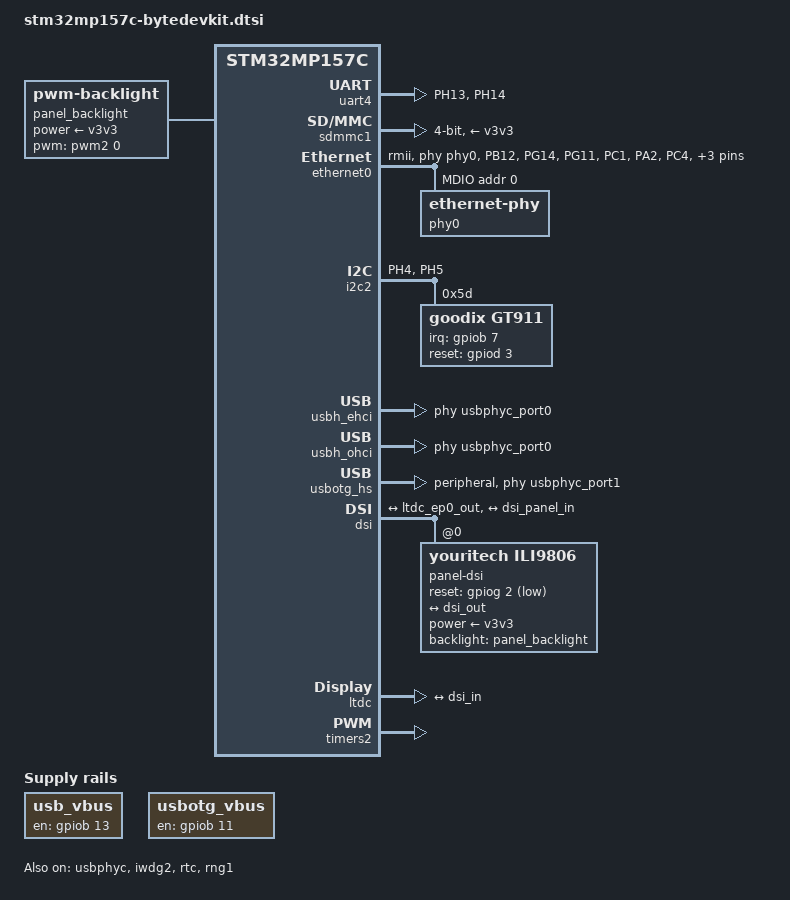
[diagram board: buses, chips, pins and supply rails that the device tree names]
// SPDX-License-Identifier: GPL-2.0
/*
 *  Copyright (C) 2020 bytes at work AG - http://www.bytesatwork.ch
 */

#include "stm32mp157c-byteengine-m5.dtsi"
#include <dt-bindings/net/ti-dp83867.h>

/ {
	aliases {
		serial0 = &uart4;
		ethernet0 = &ethernet0;
	};

	chosen {
		stdout-path = "serial0:115200n8";
	};

	usb_vbus: regulator-vbus {
		compatible = "regulator-fixed";
		regulator-name = "usb_en_vbus";
		gpio = <&gpiob 13 GPIO_ACTIVE_HIGH>;
		enable-active-high;
	};

	usbotg_vbus: regulator-vbus-otg {
		compatible = "regulator-fixed";
		regulator-name = "usbotg_en_vbus";
		gpio = <&gpiob 11 GPIO_ACTIVE_HIGH>;
		enable-active-high;
		regulator-boot-off;
	};

	panel_backlight: backlight {
		compatible = "pwm-backlight";
		pwms = <&pwm2 0 2000>;
		brightness-levels = <0 4 8 16 32 64 128 200 255>;
		default-brightness-level = <8>;
		power-supply = <&v3v3>;
	};
};

&pinctrl {
	uart4_pins: uart4-0 {
		pins1 {
			pinmux = <STM32_PINMUX('H', 13, AF8)>; /* UART4_TX */
			bias-disable;
			drive-push-pull;
			slew-rate = <0>;
		};

		pins2 {
			pinmux = <STM32_PINMUX('H', 14, AF8)>; /* UART4_RX */
			bias-disable;
		};
	};

	uart4_idle_pins: uart4-idle-0 {
		pins1 {
			pinmux = <STM32_PINMUX('H', 13, ANALOG)>; /* UART4_TX */
		};

		pins2 {
			pinmux = <STM32_PINMUX('H', 14, AF8)>; /* UART4_RX */
			bias-disable;
		};
	};

	uart4_sleep_pins: uart4-sleep-0 {
		pins {
			pinmux = <STM32_PINMUX('H', 13, ANALOG)>, /* UART4_TX */
				 <STM32_PINMUX('H', 14, ANALOG)>; /* UART4_RX */
		};
	};

	pwm2_pins: pwm2-0 {
		pins {
			pinmux = <STM32_PINMUX('G', 8, AF1)>; /* TIM2_CH1 */
			bias-pull-down;
			drive-push-pull;
			slew-rate = <0>;
		};
	};

	pwm2_sleep_pins: pwm2-sleep-0 {
		pins {
			pinmux = <STM32_PINMUX('G', 8, ANALOG)>; /* TIM2_CH1 */
		};
	};

	ethernet0_rmii_pins: rmii-0 {
		pins1 {
			pinmux = <STM32_PINMUX('B', 12, AF11)>, /* ETH_RMII_TXD0 */
				 <STM32_PINMUX('G', 14, AF11)>, /* ETH_RMII_TXD1 */
				 <STM32_PINMUX('G', 11, AF11)>, /* ETH_RMII_TX_EN */
				 <STM32_PINMUX('C', 1, AF11)>; /* ETH_MDC */
			bias-disable;
			drive-push-pull;
			slew-rate = <2>;
		};

		pins2 {
			pinmux = <STM32_PINMUX('A', 2, AF11)>; /* ETH_MDIO */
			bias-disable;
			drive-push-pull;
			slew-rate = <0>;
		};

		pins3 {
			pinmux = <STM32_PINMUX('C', 4, AF11)>, /* ETH_RMII_RXD0 */
				 <STM32_PINMUX('C', 5, AF11)>, /* ETH_RMII_RXD1 */
				 <STM32_PINMUX('A', 1, AF11)>, /* ETH_RMII_REF_CLK */
				 <STM32_PINMUX('A', 7, AF11)>; /* ETH_RMII_CRS_DV */
			bias-disable;
		};
	};

	/* same as &i2c2_pins_a but with pull-up */
	i2c2_pins: i2c2-0 {
		pins {
			pinmux = <STM32_PINMUX('H', 4, AF4)>, /* I2C2_SCL */
				 <STM32_PINMUX('H', 5, AF4)>; /* I2C2_SDA */
			bias-pull-up;
			drive-open-drain;
			slew-rate = <0>;
		};
	};
};

&uart4 {
	pinctrl-names = "default", "sleep", "idle";
	pinctrl-0 = <&uart4_pins>;
	pinctrl-1 = <&uart4_sleep_pins>;
	pinctrl-2 = <&uart4_idle_pins>;
	/delete-property/dmas;
	/delete-property/dma-names;
	status = "okay";
};

&sdmmc1 {
	pinctrl-names = "default", "opendrain", "sleep";
	pinctrl-0 = <&sdmmc1_b4_pins_a>;
	pinctrl-1 = <&sdmmc1_b4_od_pins_a>;
	pinctrl-2 = <&sdmmc1_b4_sleep_pins_a>;
	broken-cd;
	st,neg-edge;
	bus-width = <4>;
	vmmc-supply = <&v3v3>;
	status = "okay";
};

&ethernet0 {
	status = "okay";
	pinctrl-0 = <&ethernet0_rmii_pins>;
	pinctrl-names = "default";
	phy-mode = "rmii";
	phy-handle = <&phy0>;
	max-speed = <100>;

	mdio0 {
		#address-cells = <1>;
		#size-cells = <0>;
		compatible = "snps,dwmac-mdio";
		phy0: ethernet-phy@0 {
			reg = <0>;
		};
	};
};

&i2c2 {
	pinctrl-names = "default", "sleep";
	pinctrl-0 = <&i2c2_pins>;
	pinctrl-1 = <&i2c2_sleep_pins_a>;
	i2c-scl-rising-time-ns = <185>;
	i2c-scl-falling-time-ns = <20>;
	status = "okay";
	/delete-property/dmas;
	/delete-property/dma-names;

	gt911@5d {
		compatible = "goodix,gt911";
		reg = <0x5d>;
		interrupt-parent = <&gpiob>;
		interrupts = <7 0>;

		irq-gpios = <&gpiob 7 0>;
		reset-gpios = <&gpiod 3 0>;
	};
};

&usbh_ehci {
	phys = <&usbphyc_port0>;
	phy-names = "usb";
	status = "okay";
};

&usbh_ohci {
	phys = <&usbphyc_port0>;           /* Use USBPHYC HS PHY port, mapped on USBH controller */
	phy-names = "usb";
	status = "okay";
};

&usbphyc {
	status = "okay";
};

&usbphyc_port0 {
	phy-supply = <&usb_vbus>;
};


/* USB OTG Port (peripheral only) */
&usbotg_hs {
	pinctrl-names = "default";
	pinctrl-0 = <&usbotg_hs_pins_a>;
	dr_mode = "peripheral";
	phys = <&usbphyc_port1 0>;
	phy-names = "usb2-phy";
	status = "okay";
};

&iwdg2 {
	timeout-sec = <32>;
	status = "okay";
};

&dsi {
	#address-cells = <1>;
	#size-cells = <0>;
	status = "okay";

	ports {
		#address-cells = <1>;
		#size-cells = <0>;

		port@0 {
			reg = <0>;
			dsi_in: endpoint {
				remote-endpoint = <&ltdc_ep0_out>;
			};
		};

		port@1 {
			reg = <1>;
			dsi_out: endpoint {
				remote-endpoint = <&dsi_panel_in>;
			};
		};
	};

	panel-dsi@0 {
		compatible = "youritech,ili9806";
		reg = <0>;
		reset-gpios = <&gpiog 2 GPIO_ACTIVE_LOW>;
		power-supply = <&v3v3>;
		backlight = <&panel_backlight>;
		status = "okay";

		port {
			dsi_panel_in: endpoint {
				remote-endpoint = <&dsi_out>;
			};
		};
	};
};

&ltdc {
	status = "okay";

	port {
		#address-cells = <1>;
		#size-cells = <0>;

		ltdc_ep0_out: endpoint@0 {
			reg = <0>;
			remote-endpoint = <&dsi_in>;
		};
	};
};

/* Backlight PWM */
&timers2 {
	/* spare dmas for other usage (un-delete to enable pwm capture) */
	/delete-property/dmas;
	/delete-property/dma-names;
	status = "okay";

	pwm2: pwm {
		pinctrl-0 = <&pwm2_pins>;
		pinctrl-1 = <&pwm2_sleep_pins>;
		pinctrl-names = "default", "sleep";
		#pwm-cells = <2>;
		status = "okay";
	};
};

&rtc {
	status = "okay";
};

&rng1 {
	status = "okay";
};
